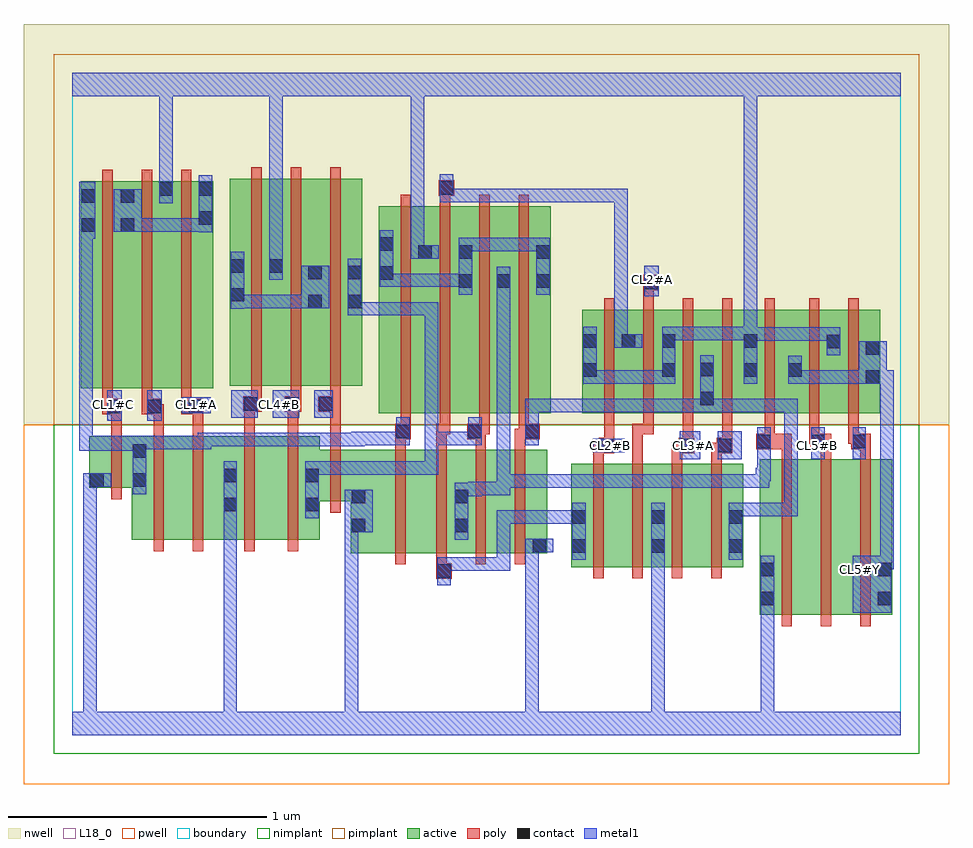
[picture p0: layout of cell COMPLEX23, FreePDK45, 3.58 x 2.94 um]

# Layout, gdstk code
import gdstk
lib = gdstk.Library(unit=1e-6, precision=1e-09)
def R(c, l, rs):  # rectangles x0, y0, x1, y1
    for r in rs: c.add(gdstk.rectangle(r[:2], r[2:], *l))
def A(c, l, x, y, w, h, nx, ny, dx, dy):  # array of equal rectangles
    R(c, l, [(x+i*dx, y+j*dy, x+i*dx+w, y+j*dy+h) for i in range(nx) for j in range(ny)])
active = (1, 0)
pwell = (2, 0)
nwell = (3, 0)
nimplant = (4, 0)
pimplant = (5, 0)
poly = (9, 0)
contact = (10, 0)
metal1 = (11, 0)
L18_0 = (18, 0)
boundary = (235, 0)

complex23 = lib.new_cell('COMPLEX23')
R(complex23, active, [(2.656,0.466,2.716,1.066), (2.656,0.466,2.836,1.066), (2.836,0.466,2.988,1.066), (2.988,0.466,3.168,1.066), (3.108,0.466,3.168,1.066), (1.928,0.65,2.108,1.05), (1.928,0.65,1.988,1.05), (2.108,0.65,2.292,1.05), (2.232,0.65,2.412,1.05), (2.412,0.65,2.592,1.05), (2.232,0.702,2.292,0.874), (2.532,0.702,2.592,1.05), (1.076,0.704,1.136,1.104), (1.076,0.704,1.35,1.104), (1.35,0.704,1.534,1.104), (1.474,0.704,1.654,1.104), (1.474,0.704,1.534,0.952), (1.654,0.704,1.834,1.104), (1.774,0.704,1.834,1.104), (0.23,0.756,0.41,1.156), (0.23,0.756,0.29,1.128), (0.41,0.756,0.64,1.156), (0.58,0.756,0.64,1.034), (0.58,0.756,0.776,1.156), (0.776,0.756,0.956,1.156), (0.896,0.756,0.956,1.034), (0.896,0.904,1.136,1.104), (0.066,0.956,0.29,1.156), (0.066,0.956,0.126,1.156), (1.184,1.244,1.244,2.044), (1.184,1.244,1.392,2.044), (1.332,1.244,1.548,2.044), (1.488,1.244,1.548,2.044), (1.488,1.244,1.696,2.044), (1.636,1.244,1.696,2.044), (1.636,1.244,1.848,2.044), (1.788,1.244,1.848,2.044), (1.97,1.244,2.03,1.644), (1.97,1.244,2.178,1.644), (2.118,1.244,2.334,1.644), (2.274,1.244,2.482,1.644), (2.422,1.244,2.65,1.644), (2.59,1.244,2.822,1.644), (2.762,1.244,2.97,1.644), (2.91,1.244,2.97,1.644), (2.91,1.244,3.122,1.644), (3.062,1.244,3.122,1.644), (2.422,1.272,2.482,1.644), (0.032,1.34,0.244,2.14), (0.032,1.34,0.092,2.114), (0.184,1.34,0.392,2.14), (0.184,1.34,0.244,2.114), (0.332,1.34,0.544,2.14), (0.484,1.34,0.544,2.14), (0.608,1.35,0.816,2.15), (0.608,1.35,0.668,2.044), (0.756,1.35,0.968,2.15), (0.908,1.35,1.12,2.15), (0.908,1.35,0.968,2.044), (1.06,1.35,1.12,2.044), (0.332,1.366,0.392,2.14), (2.274,1.382,2.334,1.644), (2.59,1.382,2.65,1.644), (2.762,1.382,2.822,1.644), (1.332,1.472,1.392,2.044), (2.118,1.494,2.178,1.644), (0.756,1.526,0.816,2.15)])
R(complex23, pwell, [(-0.188,-0.188,3.388,1.2)])
R(complex23, nwell, [(-0.188,1.2,3.388,2.748)])
R(complex23, nimplant, [(-0.072,-0.072,3.272,1.2)])
R(complex23, pimplant, [(-0.072,1.2,3.272,2.632)])
A(complex23, poly, 2.74, 0.422, 0.04, 0.688, 3, 1, 0.152, 0)
A(complex23, poly, 2.012, 0.606, 0.04, 0.488, 4, 1, 0.152, 0)
A(complex23, poly, 1.406, 0.66, 0.04, 0.488, 3, 1, 0.152, 0)
A(complex23, poly, 2.74, 1.07, 0.04, 0.076, 3, 1, 0.152, 0)
A(complex23, poly, 1.268, 1.164, 0.04, 0.076, 4, 1, 0.152, 0)
A(complex23, poly, 1.268, 1.2, 0.04, 0.888, 4, 1, 0.152, 0)
A(complex23, poly, 2.054, 1.2, 0.04, 0.488, 4, 1, 0.152, 0)
A(complex23, poly, 0.116, 1.26, 0.04, 0.076, 3, 1, 0.152, 0)
A(complex23, poly, 0.692, 1.27, 0.04, 0.076, 3, 1, 0.152, 0)
A(complex23, poly, 0.116, 1.296, 0.04, 0.888, 3, 1, 0.152, 0)
A(complex23, poly, 0.692, 1.306, 0.04, 0.888, 3, 1, 0.152, 0)
R(complex23, poly, [(1.406,0.604,1.466,0.664), (1.406,0.624,1.446,0.7), (1.248,0.66,1.288,1.148), (0.314,0.712,0.354,1.2), (0.466,0.712,0.506,1.2), (0.664,0.712,0.704,1.2), (0.832,0.712,0.872,1.2), (0.996,0.86,1.036,1.148), (0.15,0.912,0.19,1.2), (2.012,1.054,2.052,1.13), (2.164,1.054,2.204,1.204), (2.316,1.054,2.356,1.13), (2.468,1.054,2.508,1.13), (2.012,1.09,2.074,1.13), (2.034,1.09,2.074,1.13), (2.034,1.09,2.094,1.15), (2.316,1.09,2.382,1.13), (2.342,1.09,2.382,1.13), (2.342,1.09,2.402,1.15), (2.468,1.09,2.53,1.13), (2.49,1.09,2.53,1.13), (2.49,1.09,2.55,1.15), (2.642,1.106,2.78,1.166), (2.85,1.106,2.932,1.166), (3.01,1.106,3.084,1.166), (0.996,1.108,1.036,1.29), (1.248,1.108,1.288,1.184), (1.406,1.108,1.446,1.204), (1.558,1.108,1.598,1.184), (1.71,1.108,1.75,1.184), (2.054,1.11,2.094,1.24), (2.358,1.11,2.398,1.24), (2.51,1.11,2.55,1.24), (2.674,1.126,2.714,1.24), (2.674,1.126,2.714,1.166), (2.674,1.126,2.714,1.166), (2.846,1.126,2.886,1.24), (2.846,1.126,2.89,1.166), (2.85,1.126,2.89,1.166), (2.998,1.126,3.038,1.24), (2.998,1.126,3.05,1.166), (3.01,1.126,3.05,1.166), (1.248,1.144,1.308,1.204), (1.526,1.144,1.598,1.204), (1.71,1.144,1.764,1.184), (1.724,1.144,1.764,1.184), (1.724,1.144,1.806,1.204), (0.15,1.16,0.19,1.28), (0.314,1.16,0.354,1.28), (0.466,1.16,0.506,1.28), (0.664,1.16,0.704,1.29), (0.832,1.16,0.872,1.29), (1.268,1.164,1.308,1.204), (1.268,1.164,1.308,1.204), (1.406,1.164,1.446,1.204), (1.406,1.164,1.446,1.204), (1.406,1.164,1.46,1.204), (1.558,1.164,1.598,1.204), (1.558,1.164,1.612,1.204), (2.164,1.164,2.236,1.204), (2.196,1.164,2.236,1.204), (2.196,1.164,2.246,1.204), (2.206,1.164,2.246,1.24), (2.674,1.2,2.714,1.688), (2.846,1.2,2.886,1.688), (2.998,1.2,3.038,1.688), (0.116,1.24,0.19,1.3), (0.15,1.24,0.19,1.28), (0.15,1.24,0.19,1.28), (0.268,1.24,0.346,1.3), (0.306,1.24,0.346,1.28), (0.306,1.24,0.354,1.28), (0.42,1.24,0.506,1.3), (0.466,1.24,0.506,1.28), (0.466,1.24,0.506,1.28), (0.66,1.25,0.732,1.31), (0.664,1.25,0.704,1.29), (0.664,1.25,0.704,1.29), (0.82,1.25,0.884,1.31), (0.832,1.25,0.872,1.29), (0.832,1.25,0.872,1.29), (0.95,1.25,1.036,1.31), (0.996,1.25,1.036,1.29), (0.996,1.25,1.036,1.29), (2.206,1.648,2.246,1.76), (2.206,1.72,2.266,1.78), (1.42,2.048,1.46,2.124), (1.416,2.084,1.476,2.144)])
R(complex23, contact, [(2.66,0.502,2.712,0.554), (3.112,0.502,3.164,0.554), (1.41,0.608,1.462,0.66), (2.66,0.614,2.712,0.666), (3.112,0.614,3.164,0.666), (1.932,0.706,1.984,0.758), (2.236,0.706,2.288,0.758), (2.536,0.706,2.588,0.758), (1.778,0.708,1.83,0.76), (1.08,0.784,1.132,0.836), (1.478,0.784,1.53,0.836), (1.932,0.818,1.984,0.87), (2.236,0.818,2.288,0.87), (2.536,0.818,2.588,0.87), (0.584,0.866,0.636,0.918), (0.9,0.866,0.952,0.918), (1.08,0.896,1.132,0.948), (1.478,0.896,1.53,0.948), (0.07,0.96,0.122,1.012), (0.234,0.96,0.286,1.012), (0.584,0.978,0.636,1.03), (0.9,0.978,0.952,1.03), (0.234,1.072,0.286,1.124), (2.038,1.094,2.09,1.146), (2.346,1.094,2.398,1.146), (2.494,1.094,2.546,1.146), (2.646,1.11,2.698,1.162), (2.854,1.11,2.906,1.162), (3.014,1.11,3.066,1.162), (1.252,1.148,1.304,1.2), (1.53,1.148,1.582,1.2), (1.75,1.148,1.802,1.2), (0.134,1.244,0.186,1.296), (0.29,1.244,0.342,1.296), (0.45,1.244,0.502,1.296), (0.664,1.254,0.716,1.306), (0.824,1.254,0.876,1.306), (0.954,1.254,1.006,1.306), (2.426,1.276,2.478,1.328), (3.066,1.358,3.118,1.41), (1.974,1.386,2.026,1.438), (2.278,1.386,2.33,1.438), (2.594,1.386,2.646,1.438), (2.766,1.386,2.818,1.438), (2.426,1.388,2.478,1.44), (3.066,1.47,3.118,1.522), (2.914,1.496,2.966,1.548), (1.974,1.498,2.026,1.55), (2.122,1.498,2.174,1.55), (2.278,1.498,2.33,1.55), (2.594,1.498,2.646,1.55), (0.912,1.65,0.964,1.702), (1.064,1.65,1.116,1.702), (0.612,1.676,0.664,1.728), (2.21,1.724,2.262,1.776), (1.492,1.73,1.544,1.782), (1.64,1.73,1.692,1.782), (1.792,1.73,1.844,1.782), (1.188,1.76,1.24,1.812), (0.912,1.762,0.964,1.814), (1.064,1.762,1.116,1.814), (0.612,1.788,0.664,1.84), (0.76,1.788,0.812,1.84), (1.336,1.842,1.388,1.894), (1.492,1.842,1.544,1.894), (1.792,1.842,1.844,1.894), (1.188,1.872,1.24,1.924), (0.036,1.946,0.088,1.998), (0.188,1.946,0.24,1.998), (0.488,1.972,0.54,2.024), (0.036,2.058,0.088,2.11), (0.188,2.058,0.24,2.11), (0.336,2.084,0.388,2.136), (0.488,2.084,0.54,2.136), (1.42,2.088,1.472,2.14)])
A(complex23, metal1, 1.42, 2.06, 0.162, 0.052, 3, 1, 0.11, 0)
R(complex23, metal1, [(0,0,3.2,0.092), (0.042,0.04,0.094,0.092), (0.042,0.04,0.094,0.092), (0.042,0.04,0.094,0.092), (0.042,0.04,0.094,0.092), (0.042,0.04,0.094,0.092), (0.042,0.04,0.094,0.092), (0.042,0.04,0.094,0.538), (0.584,0.04,0.636,0.092), (0.584,0.04,0.636,0.092), (0.584,0.04,0.636,0.092), (0.584,0.04,0.636,0.092), (0.584,0.04,0.636,0.092), (0.584,0.04,0.636,0.092), (0.584,0.04,0.636,0.092), (0.584,0.04,0.636,0.092), (0.584,0.04,0.636,0.092), (0.584,0.04,0.636,0.092), (0.584,0.04,0.636,0.89), (1.052,0.04,1.104,0.092), (1.052,0.04,1.104,0.092), (1.052,0.04,1.104,0.092), (1.052,0.04,1.104,0.092), (1.052,0.04,1.104,0.092), (1.052,0.04,1.104,0.092), (1.052,0.04,1.104,0.092), (1.052,0.04,1.104,0.092), (1.052,0.04,1.104,0.6), (1.75,0.04,1.802,0.092), (1.75,0.04,1.802,0.092), (1.75,0.04,1.802,0.092), (1.75,0.04,1.802,0.092), (1.75,0.04,1.802,0.092), (1.75,0.04,1.802,0.092), (1.75,0.04,1.802,0.092), (1.75,0.04,1.802,0.092), (1.75,0.04,1.802,0.092), (1.75,0.04,1.802,0.092), (1.75,0.04,1.802,0.092), (1.75,0.04,1.802,0.092), (1.75,0.04,1.802,0.76), (2.236,0.04,2.288,0.092), (2.236,0.04,2.288,0.092), (2.236,0.04,2.288,0.092), (2.236,0.04,2.288,0.092), (2.236,0.04,2.288,0.092), (2.236,0.04,2.288,0.092), (2.236,0.04,2.288,0.092), (2.236,0.04,2.288,0.092), (2.236,0.04,2.288,0.092), (2.236,0.04,2.288,0.092), (2.236,0.04,2.288,0.73), (2.66,0.04,2.712,0.092), (2.66,0.04,2.712,0.092), (2.66,0.04,2.712,0.092), (2.66,0.04,2.712,0.092), (2.66,0.04,2.712,0.092), (2.66,0.04,2.712,0.092), (2.66,0.04,2.712,0.092), (2.66,0.04,2.712,0.092), (2.66,0.04,2.712,0.526), (2.66,0.474,2.712,0.694), (3.014,0.474,3.164,0.694), (0.042,0.486,0.094,0.538), (0.042,0.486,0.094,0.538), (0.042,0.486,0.094,0.538), (0.042,0.486,0.094,0.538), (0.042,0.486,0.094,0.538), (0.042,0.486,0.094,0.538), (0.042,0.486,0.094,0.538), (0.042,0.486,0.094,0.538), (0.042,0.486,0.094,0.538), (0.042,0.486,0.094,1.012), (1.052,0.548,1.104,0.6), (1.052,0.548,1.104,0.6), (1.052,0.548,1.104,0.6), (1.052,0.548,1.104,0.836), (1.41,0.58,1.462,0.688), (1.41,0.636,1.582,0.688), (1.53,0.636,1.582,0.688), (1.53,0.636,1.582,0.688), (1.53,0.636,1.582,0.688), (1.53,0.636,1.582,0.688), (1.53,0.636,1.582,0.688), (1.53,0.636,1.692,0.688), (1.64,0.636,1.692,0.688), (1.64,0.636,1.692,0.87), (3.112,0.642,3.164,0.694), (3.112,0.642,3.174,0.694), (3.122,0.642,3.174,1.41), (1.932,0.678,1.984,0.898), (2.236,0.678,2.288,0.73), (2.236,0.678,2.288,0.73), (2.236,0.678,2.288,0.898), (2.536,0.678,2.588,0.898), (1.75,0.708,1.858,0.76), (1.478,0.756,1.53,0.976), (1.052,0.784,1.16,0.948), (1.64,0.818,1.692,0.87), (1.64,0.818,1.692,0.87), (1.64,0.818,1.692,0.87), (1.64,0.818,1.87,0.87), (1.818,0.818,1.87,0.87), (1.818,0.818,1.984,0.87), (0.584,0.838,0.636,0.89), (0.584,0.838,0.636,0.89), (0.584,0.838,0.636,1.058), (0.9,0.838,0.952,1.058), (2.536,0.846,2.588,0.898), (2.536,0.846,2.588,0.898), (2.536,0.846,2.588,0.898), (2.536,0.846,2.588,0.898), (2.536,0.846,2.796,0.898), (2.744,0.846,2.796,0.898), (2.744,0.846,2.802,0.898), (2.75,0.846,2.802,0.898), (2.75,0.846,2.802,1.3), (1.478,0.924,1.582,0.976), (1.53,0.924,1.582,0.98), (1.53,0.928,1.692,0.98), (1.64,0.928,1.692,0.98), (1.64,0.928,1.692,1.008), (0.234,0.932,0.286,1.152), (1.64,0.956,1.692,1.008), (1.64,0.956,1.692,1.008), (1.64,0.956,1.692,1.008), (1.64,0.956,1.922,1.008), (1.64,0.956,1.692,1.754), (1.87,0.956,1.922,1.008), (1.87,0.956,1.922,1.008), (1.87,0.956,1.922,1.008), (1.87,0.956,2.032,1.008), (1.98,0.956,2.032,1.008), (1.98,0.956,2.178,1.008), (2.126,0.956,2.178,1.008), (2.126,0.956,2.22,1.008), (2.168,0.956,2.22,1.008), (2.168,0.956,2.33,1.008), (2.278,0.956,2.33,1.008), (2.278,0.956,2.33,1.008), (2.278,0.956,2.33,1.008), (2.278,0.956,2.44,1.008), (2.388,0.956,2.44,1.008), (2.388,0.956,2.44,1.008), (2.388,0.956,2.44,1.008), (2.388,0.956,2.588,1.008), (2.536,0.956,2.588,1.008), (2.536,0.956,2.692,1.008), (2.64,0.956,2.692,1.034), (0.042,0.96,0.15,1.012), (2.64,0.982,2.698,1.034), (2.646,0.982,2.698,1.19), (0.9,1.006,0.952,1.058), (0.9,1.006,0.952,1.058), (0.9,1.006,1.13,1.058), (1.078,1.006,1.13,1.058), (1.078,1.006,1.13,1.058), (1.078,1.006,1.13,1.058), (1.078,1.006,1.24,1.058), (1.188,1.006,1.24,1.058), (1.188,1.006,1.414,1.058), (1.362,1.006,1.414,1.058), (1.362,1.006,1.414,1.172), (2.346,1.066,2.426,1.174), (2.494,1.066,2.586,1.174), (2.854,1.066,2.906,1.19), (3.014,1.066,3.066,1.19), (2.01,1.094,2.134,1.146), (0.026,1.1,0.286,1.152), (0.026,1.1,0.078,1.158), (0.026,1.106,0.078,1.158), (0.026,1.106,0.078,1.158), (0.026,1.106,0.078,1.158), (0.026,1.106,0.078,1.158), (0.026,1.106,0.078,1.158), (0.026,1.106,0.078,1.158), (0.026,1.106,0.198,1.158), (0.026,1.106,0.078,1.97), (0.146,1.106,0.198,1.158), (0.146,1.106,0.198,1.158), (0.146,1.106,0.198,1.158), (0.146,1.106,0.396,1.158), (0.344,1.106,0.396,1.158), (0.344,1.106,0.536,1.158), (0.484,1.106,0.536,1.168), (0.484,1.116,0.536,1.168), (0.484,1.116,0.536,1.168), (0.484,1.116,0.65,1.168), (0.598,1.116,0.65,1.168), (0.598,1.116,0.65,1.168), (0.598,1.116,0.65,1.168), (0.598,1.116,0.826,1.168), (0.774,1.116,0.826,1.168), (0.774,1.116,0.826,1.168), (0.774,1.116,0.826,1.168), (0.774,1.116,0.994,1.168), (0.942,1.116,0.994,1.168), (0.942,1.116,0.994,1.168), (0.942,1.116,0.994,1.168), (0.942,1.116,1.13,1.168), (1.078,1.116,1.13,1.172), (1.078,1.12,1.13,1.172), (1.078,1.12,1.13,1.172), (1.078,1.12,1.304,1.172), (1.252,1.12,1.304,1.228), (1.362,1.12,1.414,1.172), (1.362,1.12,1.414,1.172), (1.362,1.12,1.414,1.172), (1.362,1.12,1.582,1.172), (1.362,1.12,1.414,1.674), (1.53,1.12,1.582,1.172), (1.53,1.12,1.582,1.172), (1.53,1.12,1.582,1.228), (1.75,1.12,1.802,1.228), (1.75,1.176,1.802,1.228), (1.75,1.176,1.802,1.228), (1.75,1.176,1.802,1.3), (0.134,1.216,0.19,1.334), (0.29,1.216,0.346,1.334), (0.614,1.226,0.716,1.334), (0.774,1.226,0.876,1.334), (0.934,1.226,1.006,1.334), (0.422,1.244,0.534,1.306), (1.75,1.248,1.802,1.3), (1.75,1.248,2.026,1.3), (1.974,1.248,2.026,1.3), (1.974,1.248,2.032,1.3), (1.98,1.248,2.032,1.3), (1.98,1.248,2.142,1.3), (2.09,1.248,2.142,1.3), (2.09,1.248,2.142,1.3), (2.09,1.248,2.142,1.3), (2.09,1.248,2.33,1.3), (2.278,1.248,2.33,1.3), (2.278,1.248,2.33,1.3), (2.278,1.248,2.33,1.3), (2.278,1.248,2.478,1.3), (2.426,1.248,2.478,1.3), (2.426,1.248,2.478,1.3), (2.426,1.248,2.588,1.3), (2.426,1.248,2.478,1.468), (2.536,1.248,2.588,1.3), (2.536,1.248,2.692,1.3), (2.64,1.248,2.692,1.3), (2.64,1.248,2.692,1.3), (2.64,1.248,2.692,1.3), (2.64,1.248,2.796,1.3), (2.744,1.248,2.796,1.3), (2.744,1.248,2.802,1.3), (2.75,1.248,2.802,1.3), (2.75,1.248,2.802,1.3), (2.75,1.248,2.802,1.3), (1.974,1.358,2.032,1.41), (1.974,1.358,2.026,1.578), (1.98,1.358,2.032,1.41), (1.98,1.358,2.142,1.41), (2.09,1.358,2.142,1.41), (2.09,1.358,2.142,1.41), (2.09,1.358,2.142,1.41), (2.09,1.358,2.33,1.41), (2.278,1.358,2.33,1.41), (2.278,1.358,2.33,1.41), (2.278,1.358,2.33,1.578), (2.594,1.358,2.646,1.578), (2.766,1.358,2.818,1.466), (2.766,1.358,2.928,1.41), (2.876,1.358,2.928,1.41), (2.876,1.358,2.928,1.41), (2.876,1.358,2.928,1.41), (2.876,1.358,3.09,1.41), (3.038,1.358,3.09,1.41), (3.038,1.358,3.09,1.41), (3.038,1.358,3.146,1.522), (3.094,1.358,3.146,1.41), (3.094,1.358,3.174,1.41), (3.122,1.358,3.174,1.41), (3.122,1.358,3.174,1.41), (2.914,1.468,2.966,1.576), (2.094,1.498,2.146,1.55), (2.094,1.498,2.146,1.55), (2.094,1.498,2.146,2.112), (2.094,1.498,2.202,1.55), (2.594,1.524,2.796,1.576), (2.744,1.524,2.796,1.576), (2.744,1.524,2.802,1.576), (2.75,1.524,2.802,1.576), (2.75,1.524,2.95,1.576), (2.898,1.524,2.95,1.576), (2.898,1.524,2.966,1.576), (2.278,1.526,2.33,1.578), (2.278,1.526,2.33,1.578), (2.278,1.526,2.44,1.578), (2.388,1.526,2.44,1.578), (2.388,1.526,2.44,1.578), (2.388,1.526,2.44,1.578), (2.388,1.526,2.588,1.578), (2.536,1.526,2.588,1.578), (2.536,1.526,2.646,1.578), (2.594,1.526,2.646,2.52), (1.064,1.622,1.116,1.674), (1.064,1.622,1.116,1.674), (1.064,1.622,1.116,1.674), (1.064,1.622,1.116,1.674), (1.064,1.622,1.116,1.842), (1.064,1.622,1.304,1.674), (1.252,1.622,1.304,1.674), (1.252,1.622,1.414,1.674), (1.362,1.622,1.414,1.674), (0.612,1.648,0.664,1.868), (0.612,1.65,0.664,1.702), (0.612,1.65,0.664,1.702), (0.612,1.65,0.774,1.702), (0.722,1.65,0.774,1.702), (0.722,1.65,0.774,1.702), (0.722,1.65,0.774,1.702), (0.722,1.65,0.936,1.702), (0.884,1.65,0.992,1.814), (2.21,1.696,2.266,1.814), (1.492,1.702,1.544,1.922), (1.64,1.702,1.692,1.754), (1.64,1.702,1.692,1.754), (1.64,1.702,1.692,1.81), (1.792,1.702,1.844,1.922), (1.188,1.732,1.24,1.784), (1.188,1.732,1.24,1.784), (1.188,1.732,1.24,1.952), (1.188,1.732,1.414,1.784), (1.362,1.732,1.414,1.784), (1.362,1.732,1.414,1.784), (1.362,1.732,1.414,1.784), (1.362,1.732,1.544,1.784), (0.76,1.76,0.812,1.868), (0.76,1.816,0.812,2.52), (1.308,1.842,1.416,1.894), (1.308,1.842,1.36,1.928), (1.492,1.87,1.544,1.922), (1.492,1.87,1.544,1.922), (1.492,1.87,1.544,1.922), (1.492,1.87,1.544,1.922), (1.492,1.87,1.582,1.922), (1.53,1.87,1.582,1.922), (1.53,1.87,1.692,1.922), (1.64,1.87,1.692,1.922), (1.64,1.87,1.692,1.922), (1.64,1.87,1.692,1.922), (1.64,1.87,1.844,1.922), (1.308,1.876,1.36,1.928), (1.308,1.876,1.36,1.928), (1.308,1.876,1.36,1.928), (1.308,1.876,1.36,1.928), (1.308,1.876,1.36,1.928), (1.308,1.876,1.36,2.52), (0.026,1.918,0.078,1.97), (0.026,1.918,0.078,1.97), (0.026,1.918,0.088,2.138), (0.488,1.944,0.54,2.164), (0.16,1.946,0.268,2.11), (0.216,1.946,0.268,1.998), (0.216,1.946,0.268,1.998), (0.216,1.946,0.378,1.998), (0.326,1.946,0.378,1.998), (0.326,1.946,0.54,1.998), (0.488,1.946,0.54,1.998), (0.488,1.946,0.54,1.998), (0.336,2.056,0.388,2.164), (1.42,2.06,1.472,2.168), (1.53,2.06,1.582,2.112), (1.53,2.06,1.582,2.112), (1.53,2.06,1.582,2.112), (1.64,2.06,1.692,2.112), (1.64,2.06,1.692,2.112), (1.64,2.06,1.692,2.112), (1.75,2.06,1.802,2.112), (1.75,2.06,1.802,2.112), (1.75,2.06,1.802,2.112), (1.75,2.06,2.026,2.112), (1.974,2.06,2.026,2.112), (1.974,2.06,2.026,2.112), (1.974,2.06,2.026,2.112), (1.974,2.06,2.026,2.112), (1.974,2.06,2.026,2.112), (1.974,2.06,2.032,2.112), (1.98,2.06,2.032,2.112), (1.98,2.06,2.146,2.112), (2.094,2.06,2.146,2.112), (0.336,2.112,0.388,2.52), (0,2.468,3.2,2.56), (0.336,2.468,0.388,2.52), (0.336,2.468,0.388,2.52), (0.336,2.468,0.388,2.52), (0.336,2.468,0.388,2.52), (0.336,2.468,0.388,2.52), (0.336,2.468,0.388,2.52), (0.336,2.468,0.388,2.52), (0.336,2.468,0.388,2.52), (0.76,2.468,0.812,2.52), (0.76,2.468,0.812,2.52), (0.76,2.468,0.812,2.52), (0.76,2.468,0.812,2.52), (0.76,2.468,0.812,2.52), (0.76,2.468,0.812,2.52), (0.76,2.468,0.812,2.52), (0.76,2.468,0.812,2.52), (1.308,2.468,1.36,2.52), (1.308,2.468,1.36,2.52), (2.594,2.468,2.646,2.52), (2.594,2.468,2.646,2.52), (2.594,2.468,2.646,2.52), (2.594,2.468,2.646,2.52), (2.594,2.468,2.646,2.52), (2.594,2.468,2.646,2.52), (2.594,2.468,2.646,2.52), (2.594,2.468,2.646,2.52), (2.594,2.468,2.646,2.52), (2.594,2.468,2.646,2.52), (2.594,2.468,2.646,2.52), (2.594,2.468,2.646,2.52), (2.594,2.468,2.646,2.52), (2.594,2.468,2.646,2.52), (2.594,2.468,2.646,2.52), (2.594,2.468,2.646,2.52)])
A(complex23, L18_0, 0.134, 1.254, 0.052, 0.052, 6, 1, 0.16, 0)
R(complex23, L18_0, [(0,0,3.2,0.092), (0.042,0.04,0.094,0.092), (0.042,0.04,0.094,0.092), (0.042,0.04,0.094,0.092), (0.042,0.04,0.094,0.092), (0.042,0.04,0.094,0.092), (0.042,0.04,0.094,0.092), (0.042,0.04,0.094,0.538), (0.584,0.04,0.636,0.092), (0.584,0.04,0.636,0.092), (0.584,0.04,0.636,0.092), (0.584,0.04,0.636,0.092), (0.584,0.04,0.636,0.092), (0.584,0.04,0.636,0.092), (0.584,0.04,0.636,0.092), (0.584,0.04,0.636,0.092), (0.584,0.04,0.636,0.092), (0.584,0.04,0.636,0.092), (0.584,0.04,0.636,0.89), (1.052,0.04,1.104,0.092), (1.052,0.04,1.104,0.092), (1.052,0.04,1.104,0.092), (1.052,0.04,1.104,0.092), (1.052,0.04,1.104,0.092), (1.052,0.04,1.104,0.092), (1.052,0.04,1.104,0.092), (1.052,0.04,1.104,0.092), (1.052,0.04,1.104,0.6), (1.75,0.04,1.802,0.092), (1.75,0.04,1.802,0.092), (1.75,0.04,1.802,0.092), (1.75,0.04,1.802,0.092), (1.75,0.04,1.802,0.092), (1.75,0.04,1.802,0.092), (1.75,0.04,1.802,0.092), (1.75,0.04,1.802,0.092), (1.75,0.04,1.802,0.092), (1.75,0.04,1.802,0.092), (1.75,0.04,1.802,0.092), (1.75,0.04,1.802,0.092), (1.75,0.04,1.802,0.76), (2.236,0.04,2.288,0.092), (2.236,0.04,2.288,0.092), (2.236,0.04,2.288,0.092), (2.236,0.04,2.288,0.092), (2.236,0.04,2.288,0.092), (2.236,0.04,2.288,0.092), (2.236,0.04,2.288,0.092), (2.236,0.04,2.288,0.092), (2.236,0.04,2.288,0.092), (2.236,0.04,2.288,0.092), (2.236,0.04,2.288,0.73), (2.66,0.04,2.712,0.092), (2.66,0.04,2.712,0.092), (2.66,0.04,2.712,0.092), (2.66,0.04,2.712,0.092), (2.66,0.04,2.712,0.092), (2.66,0.04,2.712,0.092), (2.66,0.04,2.712,0.092), (2.66,0.04,2.712,0.092), (2.66,0.04,2.712,0.526), (2.66,0.474,2.712,0.694), (3.014,0.474,3.164,0.694), (0.042,0.486,0.094,0.538), (0.042,0.486,0.094,0.538), (0.042,0.486,0.094,0.538), (0.042,0.486,0.094,0.538), (0.042,0.486,0.094,0.538), (0.042,0.486,0.094,0.538), (0.042,0.486,0.094,0.538), (0.042,0.486,0.094,0.538), (0.042,0.486,0.094,0.538), (0.042,0.486,0.094,1.012), (1.052,0.548,1.104,0.6), (1.052,0.548,1.104,0.6), (1.052,0.548,1.104,0.6), (1.052,0.548,1.104,0.836), (3.014,0.614,3.066,0.666), (3.112,0.642,3.164,0.694), (3.112,0.642,3.174,0.694), (3.122,0.642,3.174,1.41), (2.236,0.678,2.288,0.73), (2.236,0.678,2.288,0.73), (2.236,0.678,2.288,0.898), (1.75,0.708,1.858,0.76), (1.052,0.784,1.16,0.948), (0.584,0.838,0.636,0.89), (0.584,0.838,0.636,0.89), (0.584,0.838,0.636,1.058), (0.042,0.96,0.15,1.012), (2.346,1.066,2.426,1.174), (2.494,1.066,2.586,1.174), (2.854,1.066,2.906,1.19), (3.014,1.066,3.066,1.19), (2.01,1.094,2.134,1.146), (2.054,1.094,2.106,1.146), (2.374,1.094,2.426,1.146), (2.534,1.094,2.586,1.146), (2.854,1.094,2.906,1.146), (3.014,1.094,3.066,1.146), (0.134,1.216,0.19,1.334), (0.29,1.216,0.346,1.334), (0.614,1.226,0.716,1.334), (0.774,1.226,0.876,1.334), (0.934,1.226,1.006,1.334), (0.422,1.244,0.534,1.306), (1.974,1.358,2.026,1.578), (1.974,1.358,2.032,1.41), (1.98,1.358,2.032,1.41), (1.98,1.358,2.142,1.41), (2.09,1.358,2.142,1.41), (2.09,1.358,2.142,1.41), (2.09,1.358,2.142,1.41), (2.09,1.358,2.33,1.41), (2.278,1.358,2.33,1.41), (2.278,1.358,2.33,1.41), (2.278,1.358,2.33,1.578), (2.594,1.358,2.646,1.578), (2.766,1.358,2.818,1.466), (2.766,1.358,2.928,1.41), (2.876,1.358,2.928,1.41), (2.876,1.358,2.928,1.41), (2.876,1.358,2.928,1.41), (2.876,1.358,3.09,1.41), (3.038,1.358,3.09,1.41), (3.038,1.358,3.09,1.41), (3.038,1.358,3.146,1.522), (3.094,1.358,3.146,1.41), (3.094,1.358,3.174,1.41), (3.122,1.358,3.174,1.41), (3.122,1.358,3.174,1.41), (2.914,1.468,2.966,1.576), (2.594,1.524,2.796,1.576), (2.744,1.524,2.796,1.576), (2.744,1.524,2.802,1.576), (2.75,1.524,2.802,1.576), (2.75,1.524,2.95,1.576), (2.898,1.524,2.95,1.576), (2.898,1.524,2.966,1.576), (2.278,1.526,2.33,1.578), (2.278,1.526,2.33,1.578), (2.278,1.526,2.44,1.578), (2.388,1.526,2.44,1.578), (2.388,1.526,2.44,1.578), (2.388,1.526,2.44,1.578), (2.388,1.526,2.588,1.578), (2.536,1.526,2.588,1.578), (2.536,1.526,2.646,1.578), (2.594,1.526,2.646,2.52), (2.21,1.696,2.266,1.814), (2.214,1.734,2.266,1.786), (0.76,1.76,0.812,1.868), (0.76,1.816,0.812,2.52), (1.308,1.842,1.416,1.894), (1.308,1.842,1.36,1.928), (1.308,1.876,1.36,1.928), (1.308,1.876,1.36,1.928), (1.308,1.876,1.36,1.928), (1.308,1.876,1.36,1.928), (1.308,1.876,1.36,1.928), (1.308,1.876,1.36,2.52), (0.336,2.056,0.388,2.164), (0.336,2.112,0.388,2.52), (0,2.468,3.2,2.56), (0.336,2.468,0.388,2.52), (0.336,2.468,0.388,2.52), (0.336,2.468,0.388,2.52), (0.336,2.468,0.388,2.52), (0.336,2.468,0.388,2.52), (0.336,2.468,0.388,2.52), (0.336,2.468,0.388,2.52), (0.336,2.468,0.388,2.52), (0.76,2.468,0.812,2.52), (0.76,2.468,0.812,2.52), (0.76,2.468,0.812,2.52), (0.76,2.468,0.812,2.52), (0.76,2.468,0.812,2.52), (0.76,2.468,0.812,2.52), (0.76,2.468,0.812,2.52), (0.76,2.468,0.812,2.52), (1.308,2.468,1.36,2.52), (1.308,2.468,1.36,2.52), (2.594,2.468,2.646,2.52), (2.594,2.468,2.646,2.52), (2.594,2.468,2.646,2.52), (2.594,2.468,2.646,2.52), (2.594,2.468,2.646,2.52), (2.594,2.468,2.646,2.52), (2.594,2.468,2.646,2.52), (2.594,2.468,2.646,2.52), (2.594,2.468,2.646,2.52), (2.594,2.468,2.646,2.52), (2.594,2.468,2.646,2.52), (2.594,2.468,2.646,2.52), (2.594,2.468,2.646,2.52), (2.594,2.468,2.646,2.52), (2.594,2.468,2.646,2.52), (2.594,2.468,2.646,2.52)])
R(complex23, boundary, [(0,0,3.2,2.56)])
complex23.add(gdstk.Label('CL1#A', (0.48,1.28), layer=11, texttype=0))
complex23.add(gdstk.Label('CL1#B', (0.32,1.28), layer=11, texttype=0))
complex23.add(gdstk.Label('CL1#C', (0.16,1.28), layer=11, texttype=0))
complex23.add(gdstk.Label('CL2#A', (2.24,1.76), layer=11, texttype=0))
complex23.add(gdstk.Label('CL2#B', (2.08,1.12), layer=11, texttype=0))
complex23.add(gdstk.Label('CL3#A', (2.4,1.12), layer=11, texttype=0))
complex23.add(gdstk.Label('CL3#B', (2.56,1.12), layer=11, texttype=0))
complex23.add(gdstk.Label('CL4#A', (0.64,1.28), layer=11, texttype=0))
complex23.add(gdstk.Label('CL4#B', (0.8,1.28), layer=11, texttype=0))
complex23.add(gdstk.Label('CL4#C', (0.96,1.28), layer=11, texttype=0))
complex23.add(gdstk.Label('CL5#B', (2.88,1.12), layer=11, texttype=0))
complex23.add(gdstk.Label('CL5#C', (3.04,1.12), layer=11, texttype=0))
complex23.add(gdstk.Label('CL5#Y', (3.04,0.64), layer=11, texttype=0))

lib.write_gds('COMPLEX23.gds')
